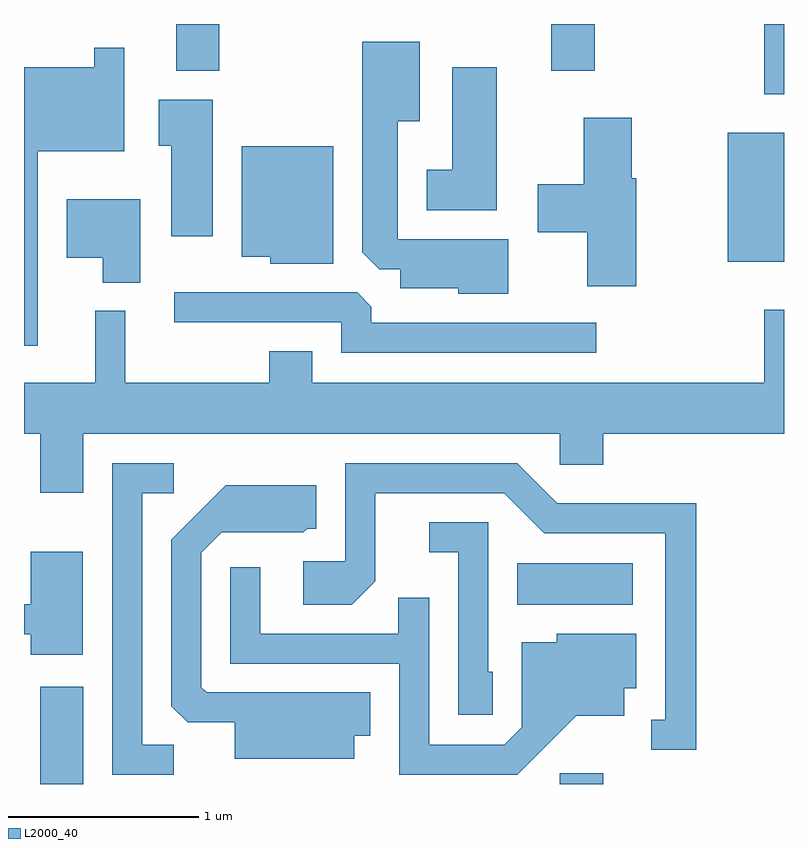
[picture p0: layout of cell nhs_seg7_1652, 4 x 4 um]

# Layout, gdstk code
import gdstk
lib = gdstk.Library(unit=1e-6, precision=1e-09)
def R(c, l, rs):  # rectangles x0, y0, x1, y1
    for r in rs: c.add(gdstk.rectangle(r[:2], r[2:], *l))
def P(c, l, *ps):  # polygons
    for p in ps: c.add(gdstk.Polygon(p, *l))
L2000_40 = (2000, 40)

nhs_seg7_1652 = lib.new_cell('nhs_seg7_1652')
R(nhs_seg7_1652, L2000_40, [(235.696,1710.252,235.924,1710.764), (238.431,1710.252,238.659,1710.309), (238.206,1711.196,238.814,1711.414), (239.316,1713.001,239.611,1713.679), (239.506,1713.883,239.611,1714.252), (236.411,1714.006,236.639,1714.252), (238.386,1714.006,238.614,1714.252)])
P(nhs_seg7_1652, L2000_40, [(238.159,1713.119),(237.579,1713.119),(237.579,1713.741),(237.694,1713.741),(237.694,1714.159),(237.391,1714.159),(237.391,1713.052),(237.482,1712.961),(237.591,1712.961),(237.591,1712.861),(237.896,1712.861),(237.896,1712.831),(238.159,1712.831)],
  [(235.684,1713.581),(236.139,1713.581),(236.139,1714.128),(235.981,1714.128),(235.981,1714.024),(235.611,1714.024),(235.611,1712.558),(235.684,1712.558)],
  [(238.099,1714.024),(237.866,1714.024),(237.866,1713.484),(237.731,1713.484),(237.731,1713.271),(238.099,1713.271)],
  [(236.604,1713.854),(236.321,1713.854),(236.321,1713.611),(236.386,1713.611),(236.386,1713.136),(236.604,1713.136)],
  [(238.834,1713.439),(238.809,1713.439),(238.809,1713.759),(238.556,1713.759),(238.556,1713.409),(238.316,1713.409),(238.316,1713.156),(238.576,1713.156),(238.576,1712.871),(238.834,1712.871)],
  [(237.239,1713.609),(236.756,1713.609),(236.756,1713.026),(236.906,1713.026),(236.906,1712.991),(237.239,1712.991)],
  [(236.224,1713.329),(235.836,1713.329),(235.836,1713.021),(236.026,1713.021),(236.026,1712.891),(236.224,1712.891)],
  [(238.623,1712.679),(237.439,1712.679),(237.439,1712.764),(237.364,1712.839),(236.403,1712.839),(236.403,1712.681),(237.281,1712.681),(237.281,1712.521),(238.623,1712.521)],
  [(235.924,1712.096),(238.431,1712.096),(238.431,1711.931),(238.659,1711.931),(238.659,1712.096),(239.611,1712.096),(239.611,1712.748),(239.506,1712.748),(239.506,1712.364),(237.129,1712.364),(237.129,1712.529),(236.901,1712.529),(236.901,1712.364),(236.144,1712.364),(236.144,1712.743),(235.986,1712.743),(235.986,1712.364),(235.611,1712.364),(235.611,1712.096),(235.696,1712.096),(235.696,1711.786),(235.924,1711.786)],
  [(236.398,1710.459),(236.234,1710.459),(236.234,1711.781),(236.398,1711.781),(236.398,1711.939),(236.076,1711.939),(236.076,1710.301),(236.398,1710.301)],
  [(239.149,1711.729),(238.417,1711.729),(238.207,1711.939),(237.301,1711.939),(237.301,1711.424),(237.081,1711.424),(237.081,1711.196),(237.337,1711.196),(237.459,1711.319),(237.459,1711.781),(238.139,1711.781),(238.349,1711.571),(238.986,1711.571),(238.986,1710.589),(238.913,1710.589),(238.913,1710.431),(239.149,1710.431)],
  [(237.349,1710.506),(237.434,1710.506),(237.434,1710.734),(236.572,1710.734),(236.544,1710.762),(236.544,1711.469),(236.652,1711.576),(237.082,1711.576),(237.102,1711.596),(237.149,1711.596),(237.149,1711.824),(236.674,1711.824),(236.386,1711.537),(236.386,1710.662),(236.472,1710.576),(236.721,1710.576),(236.721,1710.386),(237.349,1710.386)],
  [(238.079,1710.844),(238.054,1710.844),(238.054,1711.629),(237.743,1711.629),(237.743,1711.471),(237.896,1711.471),(237.896,1710.616),(238.079,1710.616)],
  [(235.919,1711.474),(235.646,1711.474),(235.646,1711.199),(235.611,1711.199),(235.611,1711.041),(235.646,1711.041),(235.646,1710.931),(235.919,1710.931)],
  [(238.517,1710.611),(238.769,1710.611),(238.769,1710.756),(238.834,1710.756),(238.834,1711.044),(238.416,1711.044),(238.416,1710.999),(238.231,1710.999),(238.231,1710.552),(238.139,1710.459),(237.744,1710.459),(237.744,1711.233),(237.581,1711.233),(237.581,1711.044),(236.854,1711.044),(236.854,1711.393),(236.696,1711.393),(236.696,1710.886),(237.586,1710.886),(237.586,1710.301),(238.207,1710.301)])

lib.write_gds('nhs_seg7_1652.gds')
